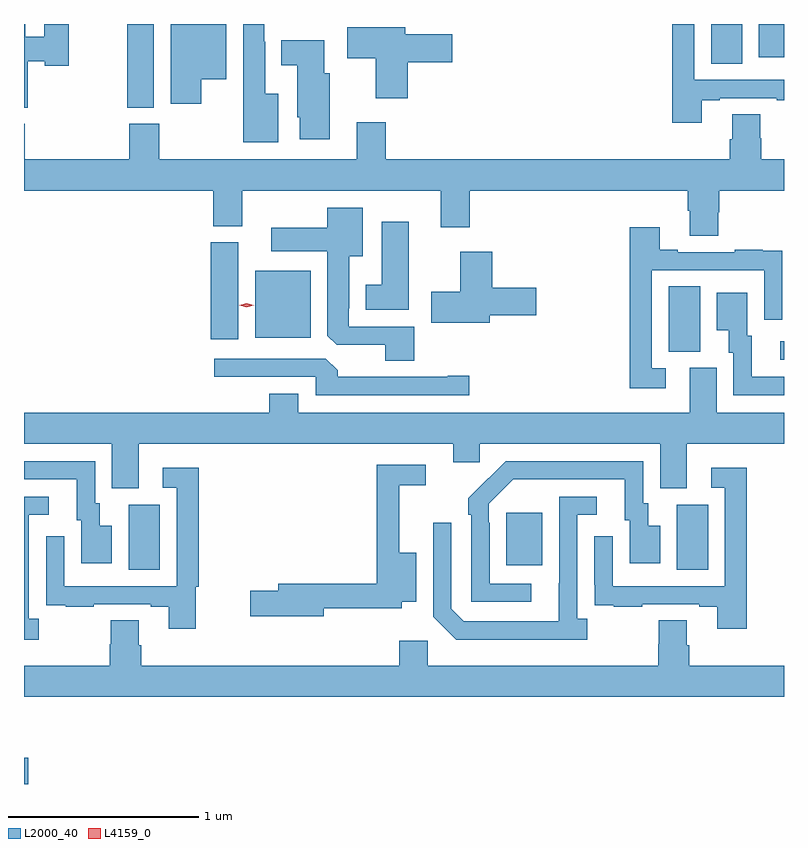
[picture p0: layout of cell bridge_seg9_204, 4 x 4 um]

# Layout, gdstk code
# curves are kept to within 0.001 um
import gdstk
lib = gdstk.Library(unit=1e-6, precision=1e-09)
def R(c, l, rs):  # rectangles x0, y0, x1, y1
    for r in rs: c.add(gdstk.rectangle(r[:2], r[2:], *l))
def P(c, l, *ps):  # polygons
    for p in ps: c.add(gdstk.Polygon(p, *l))
L2000_40 = (2000, 40)
L4159_0 = (4159, 0)

bridge_seg9_204 = lib.new_cell('bridge_seg9_204')
R(bridge_seg9_204, L2000_40, [(166.81,1203.953,166.832,1204.09), (167.36,1205.08,167.524,1205.424), (170.246,1205.08,170.41,1205.424), (169.349,1205.105,169.537,1205.38), (170.79,1206.186,170.81,1206.282), (170.204,1206.229,170.368,1206.572), (167.792,1206.294,167.938,1206.804), (168.026,1206.302,168.319,1206.655), (167.353,1207.513,167.494,1207.953), (170.426,1207.744,170.59,1207.953), (170.678,1207.779,170.81,1207.953)])
P(bridge_seg9_204, L2000_40, [(168.148,1207.585),(168.079,1207.585),(168.079,1207.859),(168.075,1207.859),(168.075,1207.953),(167.963,1207.953),(167.963,1207.331),(168.148,1207.331)],
  [(166.829,1207.756),(166.92,1207.756),(166.92,1207.733),(167.046,1207.733),(167.046,1207.953),(166.916,1207.953),(166.916,1207.885),(166.816,1207.885),(166.816,1207.953),(166.81,1207.953),(166.81,1207.513),(166.829,1207.513)],
  [(167.743,1207.661),(167.875,1207.661),(167.875,1207.953),(167.582,1207.953),(167.582,1207.533),(167.743,1207.533)],
  [(170.377,1207.551),(170.473,1207.551),(170.473,1207.563),(170.773,1207.563),(170.773,1207.551),(170.81,1207.551),(170.81,1207.659),(170.337,1207.659),(170.337,1207.953),(170.221,1207.953),(170.221,1207.434),(170.377,1207.434)],
  [(168.83,1207.751),(169.063,1207.751),(169.063,1207.898),(168.817,1207.898),(168.817,1207.936),(168.51,1207.936),(168.51,1207.774),(168.662,1207.774),(168.662,1207.563),(168.83,1207.563)],
  [(168.418,1207.695),(168.391,1207.695),(168.391,1207.867),(168.164,1207.867),(168.164,1207.736),(168.248,1207.736),(168.248,1207.461),(168.26,1207.461),(168.26,1207.347),(168.418,1207.347)],
  [(170.463,1206.963),(170.468,1206.963),(170.468,1207.076),(170.81,1207.076),(170.81,1207.24),(170.69,1207.24),(170.69,1207.353),(170.685,1207.353),(170.685,1207.478),(170.537,1207.478),(170.537,1207.346),(170.525,1207.346),(170.525,1207.24),(168.713,1207.24),(168.713,1207.435),(168.56,1207.435),(168.56,1207.24),(167.523,1207.24),(167.523,1207.428),(167.363,1207.428),(167.363,1207.24),(166.814,1207.24),(166.814,1207.428),(166.81,1207.428),(166.81,1207.076),(167.807,1207.076),(167.807,1206.889),(167.959,1206.889),(167.959,1207.076),(169.004,1207.076),(169.004,1206.882),(169.157,1206.882),(169.157,1207.076),(170.303,1207.076),(170.303,1206.97),(170.315,1206.97),(170.315,1206.838),(170.463,1206.838)],
  [(168.863,1206.36),(168.519,1206.36),(168.519,1206.457),(168.523,1206.457),(168.523,1206.731),(168.592,1206.731),(168.592,1206.985),(168.407,1206.985),(168.407,1206.88),(168.111,1206.88),(168.111,1206.758),(168.407,1206.758),(168.407,1206.313),(168.456,1206.264),(168.71,1206.264),(168.71,1206.181),(168.863,1206.181)],
  [(168.835,1206.913),(168.692,1206.913),(168.692,1206.58),(168.608,1206.58),(168.608,1206.449),(168.835,1206.449)],
  [(170.188,1206.141),(170.115,1206.141),(170.115,1206.657),(170.706,1206.657),(170.706,1206.396),(170.802,1206.396),(170.802,1206.65),(170.801,1206.65),(170.801,1206.759),(170.699,1206.759),(170.699,1206.766),(170.551,1206.766),(170.551,1206.753),(170.251,1206.753),(170.251,1206.766),(170.155,1206.766),(170.155,1206.883),(169.999,1206.883),(169.999,1206.036),(170.188,1206.036)],
  [(169.261,1206.419),(169.507,1206.419),(169.507,1206.566),(169.274,1206.566),(169.274,1206.754),(169.106,1206.754),(169.106,1206.543),(168.954,1206.543),(168.954,1206.38),(169.261,1206.38)],
  [(170.81,1206.096),(170.641,1206.096),(170.641,1206.312),(170.617,1206.312),(170.617,1206.538),(170.456,1206.538),(170.456,1206.341),(170.519,1206.341),(170.519,1206.222),(170.544,1206.222),(170.544,1206),(170.81,1206)],
  [(169.153,1206.101),(169.04,1206.101),(169.04,1206.096),(168.461,1206.096),(168.461,1206.13),(168.399,1206.192),(167.811,1206.192),(167.811,1206.096),(168.345,1206.096),(168.345,1206),(169.153,1206)],
  [(168.253,1206.007),(168.101,1206.007),(168.101,1205.908),(166.81,1205.908),(166.81,1205.744),(167.273,1205.744),(167.273,1205.509),(167.413,1205.509),(167.413,1205.744),(169.07,1205.744),(169.07,1205.646),(169.209,1205.646),(169.209,1205.744),(170.159,1205.744),(170.159,1205.509),(170.299,1205.509),(170.299,1205.744),(170.81,1205.744),(170.81,1205.908),(170.455,1205.908),(170.455,1206.144),(170.315,1206.144),(170.315,1205.908),(168.253,1205.908)],
  [(169.48,1205.007),(169.26,1205.007),(169.26,1205.327),(169.257,1205.327),(169.257,1205.427),(169.386,1205.556),(169.973,1205.556),(169.973,1205.34),(169.997,1205.34),(169.997,1205.115),(170.158,1205.115),(170.158,1205.311),(170.095,1205.311),(170.095,1205.43),(170.07,1205.43),(170.07,1205.652),(169.346,1205.652),(169.149,1205.457),(169.149,1205.369),(169.164,1205.369),(169.164,1204.911),(169.48,1204.911)],
  [(167.272,1205.311),(167.209,1205.311),(167.209,1205.43),(167.184,1205.43),(167.184,1205.652),(166.81,1205.652),(166.81,1205.556),(167.087,1205.556),(167.087,1205.34),(167.111,1205.34),(167.111,1205.115),(167.272,1205.115)],
  [(168.388,1204.878),(168.798,1204.878),(168.798,1204.913),(168.874,1204.913),(168.874,1205.17),(168.785,1205.17),(168.785,1205.526),(168.925,1205.526),(168.925,1205.634),(168.667,1205.634),(168.667,1205.006),(168.149,1205.006),(168.149,1204.97),(168,1204.97),(168,1204.835),(168.388,1204.835)],
  [(167.714,1204.992),(167.729,1204.992),(167.729,1205.617),(167.541,1205.617),(167.541,1205.511),(167.613,1205.511),(167.613,1204.995),(167.022,1204.995),(167.022,1205.257),(166.926,1205.257),(166.926,1205.002),(166.927,1205.002),(166.927,1204.893),(167.029,1204.893),(167.029,1204.887),(167.177,1204.887),(167.177,1204.899),(167.477,1204.899),(167.477,1204.887),(167.573,1204.887),(167.573,1204.77),(167.714,1204.77)],
  [(170.615,1205.617),(170.427,1205.617),(170.427,1205.511),(170.499,1205.511),(170.499,1204.995),(169.908,1204.995),(169.908,1205.257),(169.812,1205.257),(169.812,1205.002),(169.813,1205.002),(169.813,1204.893),(169.915,1204.893),(169.915,1204.887),(170.063,1204.887),(170.063,1204.899),(170.363,1204.899),(170.363,1204.887),(170.459,1204.887),(170.459,1204.77),(170.615,1204.77)],
  [(169.774,1204.822),(169.722,1204.822),(169.722,1205.37),(169.825,1205.37),(169.825,1205.466),(169.626,1205.466),(169.625,1204.809),(169.125,1204.809),(169.059,1204.875),(169.059,1205.329),(168.963,1205.329),(168.963,1204.833),(169.084,1204.712),(169.774,1204.712)],
  [(166.888,1204.822),(166.836,1204.822),(166.836,1205.37),(166.939,1205.37),(166.939,1205.466),(166.81,1205.466),(166.81,1204.712),(166.888,1204.712)],
  [(170.81,1204.576),(170.312,1204.576),(170.312,1204.682),(170.299,1204.682),(170.299,1204.814),(170.152,1204.814),(170.152,1204.689),(170.147,1204.689),(170.147,1204.576),(168.936,1204.576),(168.936,1204.708),(168.785,1204.708),(168.785,1204.576),(167.426,1204.576),(167.426,1204.682),(167.413,1204.682),(167.413,1204.814),(167.266,1204.814),(167.266,1204.689),(167.261,1204.689),(167.261,1204.576),(166.81,1204.576),(166.81,1204.412),(170.81,1204.412)])
P(bridge_seg9_204, L4159_0, [(167.982,1206.462),(167.943,1206.472),(167.943,1206.472),(167.943,1206.472),(167.982,1206.482),(168.02,1206.472),(168.02,1206.472),(168.02,1206.472)])

lib.write_gds('bridge_seg9_204.gds')
